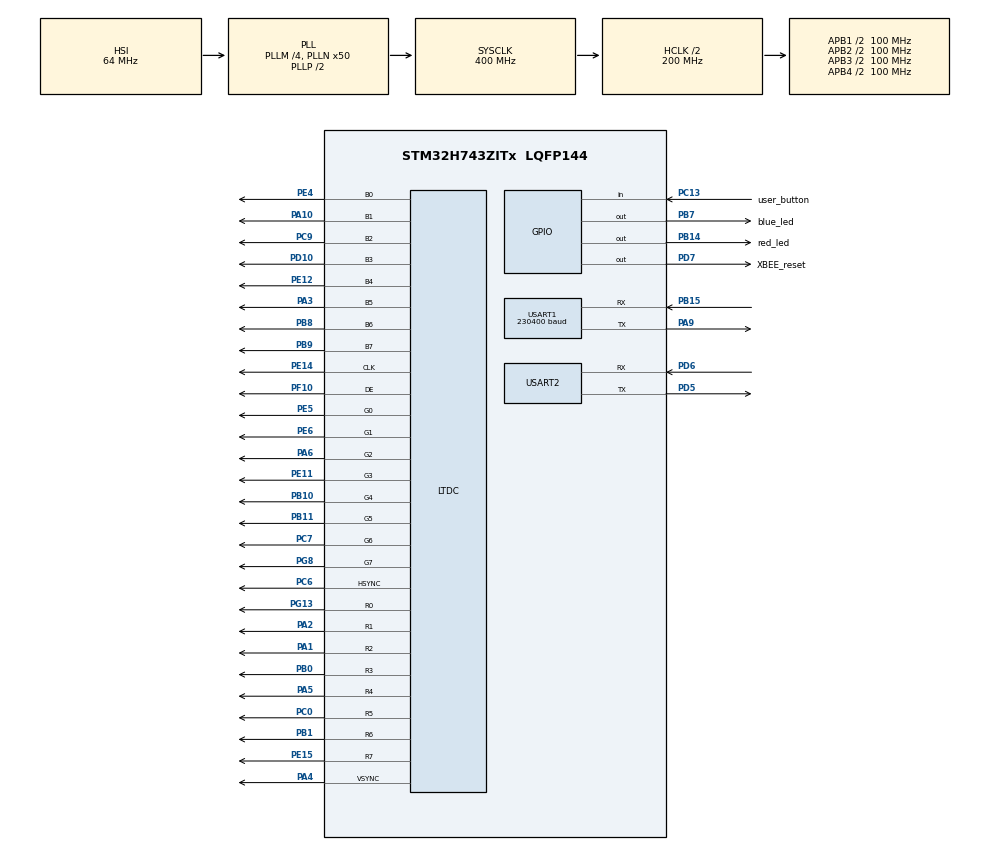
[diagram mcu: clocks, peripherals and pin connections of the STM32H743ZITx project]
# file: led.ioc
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LTDC.ActiveH=480
LTDC.ActiveW=640
LTDC.Alpha_L0=255
LTDC.BlendingFactor1_L0=LTDC_BLENDING_FACTOR1_CA
LTDC.Blue=255
LTDC.Blue_L0=255
LTDC.Blue_L1=255
LTDC.DEPolarity=LTDC_DEPOLARITY_AL
LTDC.FBStartAdress_L0=frame0
LTDC.FBStartAdress_L1=frame1
LTDC.Green=255
LTDC.Green_L0=255
LTDC.Green_L1=255
LTDC.HBP=48
LTDC.HFP=16
LTDC.HSync=96
LTDC.ImageHeight_L0=420
LTDC.ImageHeight_L1=20
LTDC.ImageWidth_L0=600
LTDC.ImageWidth_L1=20
LTDC.PCPolarity=LTDC_PCPOLARITY_IIPC
LTDC.PixelFormat_L0=LTDC_PIXEL_FORMAT_RGB565
LTDC.PixelFormat_L1=LTDC_PIXEL_FORMAT_RGB565
LTDC.Red=255
LTDC.Red_L0=255
LTDC.Red_L1=255
LTDC.VBP=32
LTDC.VFP=11
LTDC.VSync=2
LTDC.WindowX0_L0=20
LTDC.WindowX0_L1=10
LTDC.WindowX1_L0=619
LTDC.WindowX1_L1=29
LTDC.WindowY0_L0=30
LTDC.WindowY0_L1=30
LTDC.WindowY1_L0=449
LTDC.WindowY1_L1=49
Mcu.Family=STM32H7
Mcu.Name=STM32H743ZITx
Mcu.Package=LQFP144
NVIC.PriorityGroup=NVIC_PRIORITYGROUP_4
NVIC.TIM3_IRQn=true\:0\:0\:false\:false\:true\:true
PA1.GPIO_Speed=GPIO_SPEED_FREQ_VERY_HIGH
PA1.Mode=RGB888
PA1.Signal=LTDC_R2
PA10.GPIO_Speed=GPIO_SPEED_FREQ_VERY_HIGH
PA10.Mode=RGB888
PA10.Signal=LTDC_B1
PA2.GPIO_Speed=GPIO_SPEED_FREQ_VERY_HIGH
PA2.Mode=RGB888
PA2.Signal=LTDC_R1
PA3.GPIO_Speed=GPIO_SPEED_FREQ_VERY_HIGH
PA3.Mode=RGB888
PA3.Signal=LTDC_B5
PA4.GPIO_Speed=GPIO_SPEED_FREQ_VERY_HIGH
PA4.Mode=RGB888
PA4.Signal=LTDC_VSYNC
PA5.GPIO_Speed=GPIO_SPEED_FREQ_VERY_HIGH
PA5.Mode=RGB888
PA5.Signal=LTDC_R4
PA6.GPIO_Speed=GPIO_SPEED_FREQ_VERY_HIGH
PA6.Mode=RGB888
PA6.Signal=LTDC_G2
PA9.Mode=Asynchronous
PA9.Signal=USART1_TX
PB0.GPIO_Speed=GPIO_SPEED_FREQ_VERY_HIGH
PB0.Mode=RGB888
PB0.Signal=LTDC_R3
PB1.GPIO_Speed=GPIO_SPEED_FREQ_VERY_HIGH
PB1.Mode=RGB888
PB1.Signal=LTDC_R6
PB10.GPIO_Speed=GPIO_SPEED_FREQ_VERY_HIGH
PB10.Mode=RGB888
PB10.Signal=LTDC_G4
PB11.GPIO_Speed=GPIO_SPEED_FREQ_VERY_HIGH
PB11.Mode=RGB888
PB11.Signal=LTDC_G5
PB14.GPIO_Label=red_led
PB14.GPIO_Speed=GPIO_SPEED_FREQ_VERY_HIGH
PB14.Signal=GPIO_Output
PB15.Mode=Asynchronous
PB15.Signal=USART1_RX
PB7.GPIO_FM7=__NULL
PB7.GPIO_Label=blue_led
PB7.GPIO_PuPd=GPIO_NOPULL
PB7.GPIO_Speed=GPIO_SPEED_FREQ_VERY_HIGH
PB7.Signal=GPIO_Output
PB8.GPIO_Speed=GPIO_SPEED_FREQ_VERY_HIGH
PB8.Mode=RGB888
PB8.Signal=LTDC_B6
PB9.GPIO_Speed=GPIO_SPEED_FREQ_VERY_HIGH
PB9.Mode=RGB888
PB9.Signal=LTDC_B7
PC0.GPIO_Speed=GPIO_SPEED_FREQ_VERY_HIGH
PC0.Mode=RGB888
PC0.Signal=LTDC_R5
PC13.GPIO_Label=user_button
PC13.Signal=GPIO_Input
PC6.GPIO_Speed=GPIO_SPEED_FREQ_VERY_HIGH
PC6.Mode=RGB888
PC6.Signal=LTDC_HSYNC
PC7.GPIO_Speed=GPIO_SPEED_FREQ_VERY_HIGH
PC7.Mode=RGB888
PC7.Signal=LTDC_G6
PC9.GPIO_Speed=GPIO_SPEED_FREQ_VERY_HIGH
PC9.Mode=RGB888
PC9.Signal=LTDC_B2
PD10.GPIO_Speed=GPIO_SPEED_FREQ_VERY_HIGH
PD10.Mode=RGB888
PD10.Signal=LTDC_B3
PD5.Mode=Asynchronous
PD5.Signal=USART2_TX
PD6.Mode=Asynchronous
PD6.Signal=USART2_RX
PD7.GPIO_Label=XBEE_reset
PD7.Signal=GPIO_Output
PE11.GPIO_Speed=GPIO_SPEED_FREQ_VERY_HIGH
PE11.Mode=RGB888
PE11.Signal=LTDC_G3
PE12.GPIO_Speed=GPIO_SPEED_FREQ_VERY_HIGH
PE12.Mode=RGB888
PE12.Signal=LTDC_B4
PE14.GPIO_Speed=GPIO_SPEED_FREQ_VERY_HIGH
PE14.Mode=RGB888
PE14.Signal=LTDC_CLK
PE15.GPIO_Speed=GPIO_SPEED_FREQ_VERY_HIGH
PE15.Mode=RGB888
PE15.Signal=LTDC_R7
PE4.GPIO_Speed=GPIO_SPEED_FREQ_VERY_HIGH
PE4.Mode=RGB888
PE4.Signal=LTDC_B0
PE5.GPIO_Speed=GPIO_SPEED_FREQ_VERY_HIGH
PE5.Mode=RGB888
PE5.Signal=LTDC_G0
PE6.GPIO_Speed=GPIO_SPEED_FREQ_VERY_HIGH
PE6.Mode=RGB888
PE6.Signal=LTDC_G1
PF10.GPIO_Speed=GPIO_SPEED_FREQ_VERY_HIGH
PF10.Mode=RGB888
PF10.Signal=LTDC_DE
PG13.GPIO_Speed=GPIO_SPEED_FREQ_VERY_HIGH
PG13.Mode=RGB888
PG13.Signal=LTDC_R0
PG8.GPIO_Speed=GPIO_SPEED_FREQ_VERY_HIGH
PG8.Mode=RGB888
PG8.Signal=LTDC_G7
ProjectManager.HeapSize=0x200
ProjectManager.StackSize=0x400
ProjectManager.TargetToolchain=SW4STM32
RCC.ADCFreq_Value=129000000
RCC.APB1Freq_Value=100000000
RCC.APB2Freq_Value=100000000
RCC.APB3Freq_Value=100000000
RCC.APB4Freq_Value=100000000
RCC.CortexFreq_Value=400000000
RCC.D1PPRE=RCC_APB3_DIV2
RCC.D2PPRE1=RCC_APB1_DIV2
RCC.D2PPRE2=RCC_APB2_DIV2
RCC.D3PPRE=RCC_APB4_DIV2
RCC.DIVM1=4
RCC.DIVN1=50
RCC.DIVN3=25
RCC.HCLKFreq_Value=200000000
RCC.HPRE=RCC_HCLK_DIV2
RCC.SYSCLKFreq_VALUE=400000000
RCC.SYSCLKSource=RCC_SYSCLKSOURCE_PLLCLK
RCC.USBFreq_Value=400000000
TIM3.Period=9999
TIM3.Prescaler=20000
TIM4.Period=999
TIM4.Prescaler=200
USART1.BaudRate=230400
USART1.VirtualMode-Asynchronous=VM_ASYNC
USART1.WordLength=WORDLENGTH_8B
USART2.VirtualMode-Asynchronous=VM_ASYNC
VP_TIM3_VS_ClockSourceINT.Mode=Internal
VP_TIM4_VS_ClockSourceINT.Mode=Internal
board=led

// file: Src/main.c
/**
  ******************************************************************************
  * File Name          : main.c
  * Description        : Main program body
  ******************************************************************************
  ** This notice applies to any and all portions of this file
  * that are not between comment pairs USER CODE BEGIN and
  * USER CODE END. Other portions of this file, whether
  * inserted by the user or by software development tools
  * are owned by their respective copyright owners.
  *
  * COPYRIGHT(c) 2018 STMicroelectronics
  *
  * Redistribution and use in source and binary forms, with or without modification,
  * are permitted provided that the following conditions are met:
  *   1. Redistributions of source code must retain the above copyright notice,
  *      this list of conditions and the following disclaimer.
  *   2. Redistributions in binary form must reproduce the above copyright notice,
  *      this list of conditions and the following disclaimer in the documentation
  *      and/or other materials provided with the distribution.
  *   3. Neither the name of STMicroelectronics nor the names of its contributors
  *      may be used to endorse or promote products derived from this software
  *      without specific prior written permission.
  *
  * THIS SOFTWARE IS PROVIDED BY THE COPYRIGHT HOLDERS AND CONTRIBUTORS "AS IS"
  * AND ANY EXPRESS OR IMPLIED WARRANTIES, INCLUDING, BUT NOT LIMITED TO, THE
  * IMPLIED WARRANTIES OF MERCHANTABILITY AND FITNESS FOR A PARTICULAR PURPOSE ARE
  * DISCLAIMED. IN NO EVENT SHALL THE COPYRIGHT HOLDER OR CONTRIBUTORS BE LIABLE
  * FOR ANY DIRECT, INDIRECT, INCIDENTAL, SPECIAL, EXEMPLARY, OR CONSEQUENTIAL
  * DAMAGES (INCLUDING, BUT NOT LIMITED TO, PROCUREMENT OF SUBSTITUTE GOODS OR
  * SERVICES; LOSS OF USE, DATA, OR PROFITS; OR BUSINESS INTERRUPTION) HOWEVER
  * CAUSED AND ON ANY THEORY OF LIABILITY, WHETHER IN CONTRACT, STRICT LIABILITY,
  * OR TORT (INCLUDING NEGLIGENCE OR OTHERWISE) ARISING IN ANY WAY OUT OF THE USE
  * OF THIS SOFTWARE, EVEN IF ADVISED OF THE POSSIBILITY OF SUCH DAMAGE.
  *
  ******************************************************************************
  */
#include "main.h"
#include "stm32h7xx_hal.h"

/* USER CODE BEGIN Includes */
#include "QS/QS_all.h"
#include "QS/QS_systick.h"
#include "QS/QS_uart.h"
#include "QS/QS_can_over_xbee.h"
#include "LCD/interface.h"
#include "LCD/low layer/lcd_display.h"
#include "Can_msg_processing.h"
#include "environment.h"
/* USER CODE END Includes */

LTDC_HandleTypeDef hltdc;

TIM_HandleTypeDef htim3;
TIM_HandleTypeDef htim4;

UART_HandleTypeDef huart1;
UART_HandleTypeDef huart2;

/* USER CODE BEGIN PV */
/* Private variables ---------------------------------------------------------*/

/* USER CODE END PV */

void SystemClock_Config(void);
static void MX_GPIO_Init(void);
static void MX_LTDC_Init(void);
static void MX_USART1_UART_Init(void);
static void MX_USART2_UART_Init(void);
static void MX_TIM3_Init(void);
static void MX_TIM4_Init(void);

/* USER CODE BEGIN PFP */
/* Private function prototypes -----------------------------------------------*/

/* USER CODE END PFP */

int main(void)
{

  /* USER CODE BEGIN 1 */
  CAN_msg_t msg;
  /* USER CODE END 1 */

  /* MCU Configuration----------------------------------------------------------*/

  /* Reset of all peripherals, Initializes the Flash interface and the Systick. */
  HAL_Init();

  /* Configure the system clock */
  SystemClock_Config();

  /* USER CODE BEGIN SysInit */
  SYSTICK_init(&(global.absolute_time));
  /* USER CODE END SysInit */

  /* Initialize all configured peripherals */
  MX_GPIO_Init();
  MX_LTDC_Init();
  MX_USART1_UART_Init();
  MX_USART2_UART_Init();
  MX_TIM3_Init();
  MX_TIM4_Init();

  /* USER CODE BEGIN 2 */
  HAL_TIM_Base_Start_IT(&htim3);
  HAL_TIM_Base_Start_IT(&htim4);

  UART_init(UART_DEBUG, UART_DEBUG_BAUDRATE);
  UART_init(UART_XBEE, UART_XBEE_BAUDRATE);

  CAN_over_XBee_init(LED_MODULE, BIG_ROBOT_MODULE);
  XBEE_ping_pong_enable(FALSE);

  debug_printf("\n------- Hello, I'm LED -------\n");

  INTERFACE_init();

  /* USER CODE END 2 */

  /* Infinite loop */
  while (1)
  {

  /* USER CODE BEGIN 3 */

	  ENV_process_main();

	  CAN_over_XBee_process_main();

	  // Traitement des messages XBee
	  while(XBeeToCANmsg(&msg)){
		    HAL_GPIO_TogglePin(red_led_GPIO_Port, red_led_Pin);
			CAN_process_msg(&msg);		// Traitement du message pour donner les consignes à la machine d'état
			#ifdef CAN_VERBOSE_MODE
				QS_CAN_VERBOSE_can_msg_print(&msg);
			#endif
		}

	  INTERFACE_processMain();

  }
  /* USER CODE END 3 */

}

/** System Clock Configuration
*/
void SystemClock_Config(void)
{

  RCC_OscInitTypeDef RCC_OscInitStruct;
  RCC_ClkInitTypeDef RCC_ClkInitStruct;
  RCC_PeriphCLKInitTypeDef PeriphClkInitStruct;

    /**Supply configuration update enable
    */
  MODIFY_REG(PWR->CR3, PWR_CR3_SCUEN, 0);

    /**Configure the main internal regulator output voltage
    */
  __HAL_PWR_VOLTAGESCALING_CONFIG(PWR_REGULATOR_VOLTAGE_SCALE1);

  while ((PWR->D3CR & (PWR_D3CR_VOSRDY)) != PWR_D3CR_VOSRDY)
  {

  }
    /**Macro to configure the PLL clock source
    */
  __HAL_RCC_PLL_PLLSOURCE_CONFIG(RCC_PLLSOURCE_HSI);

    /**Initializes the CPU, AHB and APB busses clocks
    */
  RCC_OscInitStruct.OscillatorType = RCC_OSCILLATORTYPE_HSI;
  RCC_OscInitStruct.HSIState = RCC_HSI_DIV1;
  RCC_OscInitStruct.HSICalibrationValue = 16;
  RCC_OscInitStruct.PLL.PLLState = RCC_PLL_ON;
  RCC_OscInitStruct.PLL.PLLSource = RCC_PLLSOURCE_HSI;
  RCC_OscInitStruct.PLL.PLLM = 4;
  RCC_OscInitStruct.PLL.PLLN = 50;
  RCC_OscInitStruct.PLL.PLLP = 2;
  RCC_OscInitStruct.PLL.PLLQ = 2;
  RCC_OscInitStruct.PLL.PLLR = 2;
  RCC_OscInitStruct.PLL.PLLRGE = RCC_PLL1VCIRANGE_3;
  RCC_OscInitStruct.PLL.PLLVCOSEL = RCC_PLL1VCOWIDE;
  RCC_OscInitStruct.PLL.PLLFRACN = 0;
  if (HAL_RCC_OscConfig(&RCC_OscInitStruct) != HAL_OK)
  {
    _Error_Handler(__FILE__, __LINE__);
  }

    /**Initializes the CPU, AHB and APB busses clocks
    */
  RCC_ClkInitStruct.ClockType = RCC_CLOCKTYPE_HCLK|RCC_CLOCKTYPE_SYSCLK
                              |RCC_CLOCKTYPE_PCLK1|RCC_CLOCKTYPE_PCLK2
                              |RCC_CLOCKTYPE_D3PCLK1|RCC_CLOCKTYPE_D1PCLK1;
  RCC_ClkInitStruct.SYSCLKSource = RCC_SYSCLKSOURCE_PLLCLK;
  RCC_ClkInitStruct.SYSCLKDivider = RCC_SYSCLK_DIV1;
  RCC_ClkInitStruct.AHBCLKDivider = RCC_HCLK_DIV2;
  RCC_ClkInitStruct.APB3CLKDivider = RCC_APB3_DIV2;
  RCC_ClkInitStruct.APB1CLKDivider = RCC_APB1_DIV2;
  RCC_ClkInitStruct.APB2CLKDivider = RCC_APB2_DIV2;
  RCC_ClkInitStruct.APB4CLKDivider = RCC_APB4_DIV2;

  if (HAL_RCC_ClockConfig(&RCC_ClkInitStruct, FLASH_LATENCY_2) != HAL_OK)
  {
    _Error_Handler(__FILE__, __LINE__);
  }

  PeriphClkInitStruct.PeriphClockSelection = RCC_PERIPHCLK_LTDC|RCC_PERIPHCLK_USART2
                              |RCC_PERIPHCLK_USART1;
  PeriphClkInitStruct.PLL3.PLL3M = 32;
  PeriphClkInitStruct.PLL3.PLL3N = 25;
  PeriphClkInitStruct.PLL3.PLL3P = 2;
  PeriphClkInitStruct.PLL3.PLL3Q = 2;
  PeriphClkInitStruct.PLL3.PLL3R = 2;
  PeriphClkInitStruct.PLL3.PLL3RGE = RCC_PLL3VCIRANGE_1;
  PeriphClkInitStruct.PLL3.PLL3VCOSEL = RCC_PLL3VCOWIDE;
  PeriphClkInitStruct.PLL3.PLL3FRACN = 0;
  PeriphClkInitStruct.Usart234578ClockSelection = RCC_USART234578CLKSOURCE_D2PCLK1;
  PeriphClkInitStruct.Usart16ClockSelection = RCC_USART16CLKSOURCE_D2PCLK2;
  if (HAL_RCCEx_PeriphCLKConfig(&PeriphClkInitStruct) != HAL_OK)
  {
    _Error_Handler(__FILE__, __LINE__);
  }

    /**Configure the Systick interrupt time
    */
  HAL_SYSTICK_Config(SystemCoreClock/1000);

    /**Configure the Systick
    */
  HAL_SYSTICK_CLKSourceConfig(SYSTICK_CLKSOURCE_HCLK);

  /* SysTick_IRQn interrupt configuration */
  HAL_NVIC_SetPriority(SysTick_IRQn, 0, 0);
}

/* LTDC init function */
static void MX_LTDC_Init(void)
{

  LTDC_LayerCfgTypeDef pLayerCfg;
  LTDC_LayerCfgTypeDef pLayerCfg1;

  hltdc.Instance = LTDC;
  hltdc.Init.HSPolarity = LTDC_HSPOLARITY_AL;
  hltdc.Init.VSPolarity = LTDC_VSPOLARITY_AL;
  hltdc.Init.DEPolarity = LTDC_DEPOLARITY_AL;
  hltdc.Init.PCPolarity = LTDC_PCPOLARITY_IIPC;
  hltdc.Init.HorizontalSync = 95;
  hltdc.Init.VerticalSync = 1;
  hltdc.Init.AccumulatedHBP = 143;
  hltdc.Init.AccumulatedVBP = 33;
  hltdc.Init.AccumulatedActiveW = 783;
  hltdc.Init.AccumulatedActiveH = 513;
  hltdc.Init.TotalWidth = 799;
  hltdc.Init.TotalHeigh = 524;
  hltdc.Init.Backcolor.Blue = 255;
  hltdc.Init.Backcolor.Green = 255;
  hltdc.Init.Backcolor.Red = 255;
  if (HAL_LTDC_Init(&hltdc) != HAL_OK)
  {
    _Error_Handler(__FILE__, __LINE__);
  }

  pLayerCfg.WindowX0 = 20;
  pLayerCfg.WindowX1 = 619;
  pLayerCfg.WindowY0 = 30;
  pLayerCfg.WindowY1 = 449;
  pLayerCfg.PixelFormat = LTDC_PIXEL_FORMAT_RGB565;
  pLayerCfg.Alpha = 255;
  pLayerCfg.Alpha0 = 0;
  pLayerCfg.BlendingFactor1 = LTDC_BLENDING_FACTOR1_CA;
  pLayerCfg.BlendingFactor2 = LTDC_BLENDING_FACTOR2_CA;
  pLayerCfg.FBStartAdress = (uint32_t) frame0;
  pLayerCfg.ImageWidth = 600;
  pLayerCfg.ImageHeight = 420;
  pLayerCfg.Backcolor.Blue = 255;
  pLayerCfg.Backcolor.Green = 255;
  pLayerCfg.Backcolor.Red = 255;
  if (HAL_LTDC_ConfigLayer(&hltdc, &pLayerCfg, 0) != HAL_OK)
  {
    _Error_Handler(__FILE__, __LINE__);
  }

  pLayerCfg1.WindowX0 = 10;
  pLayerCfg1.WindowX1 = 29;
  pLayerCfg1.WindowY0 = 30;
  pLayerCfg1.WindowY1 = 49;
  pLayerCfg1.PixelFormat = LTDC_PIXEL_FORMAT_RGB565;
  pLayerCfg1.Alpha = 0;
  pLayerCfg1.Alpha0 = 0;
  pLayerCfg1.BlendingFactor1 = LTDC_BLENDING_FACTOR1_CA;
  pLayerCfg1.BlendingFactor2 = LTDC_BLENDING_FACTOR2_CA;
  pLayerCfg1.FBStartAdress = (uint32_t) frame1;
  pLayerCfg1.ImageWidth = 20;
  pLayerCfg1.ImageHeight = 20;
  pLayerCfg1.Backcolor.Blue = 255;
  pLayerCfg1.Backcolor.Green = 255;
  pLayerCfg1.Backcolor.Red = 255;
  if (HAL_LTDC_ConfigLayer(&hltdc, &pLayerCfg1, 1) != HAL_OK)
  {
    _Error_Handler(__FILE__, __LINE__);
  }

}

/* TIM3 init function */
static void MX_TIM3_Init(void)
{

  TIM_ClockConfigTypeDef sClockSourceConfig;
  TIM_MasterConfigTypeDef sMasterConfig;

  htim3.Instance = TIM3;
  htim3.Init.Prescaler = 20000;
  htim3.Init.CounterMode = TIM_COUNTERMODE_UP;
  htim3.Init.Period = 9999;
  htim3.Init.ClockDivision = TIM_CLOCKDIVISION_DIV1;
  htim3.Init.AutoReloadPreload = TIM_AUTORELOAD_PRELOAD_DISABLE;
  if (HAL_TIM_Base_Init(&htim3) != HAL_OK)
  {
    _Error_Handler(__FILE__, __LINE__);
  }

  sClockSourceConfig.ClockSource = TIM_CLOCKSOURCE_INTERNAL;
  if (HAL_TIM_ConfigClockSource(&htim3, &sClockSourceConfig) != HAL_OK)
  {
    _Error_Handler(__FILE__, __LINE__);
  }

  sMasterConfig.MasterOutputTrigger = TIM_TRGO_RESET;
  sMasterConfig.MasterSlaveMode = TIM_MASTERSLAVEMODE_DISABLE;
  if (HAL_TIMEx_MasterConfigSynchronization(&htim3, &sMasterConfig) != HAL_OK)
  {
    _Error_Handler(__FILE__, __LINE__);
  }

}

/* TIM4 init function */
static void MX_TIM4_Init(void)
{

  TIM_ClockConfigTypeDef sClockSourceConfig;
  TIM_MasterConfigTypeDef sMasterConfig;

  htim4.Instance = TIM4;
  htim4.Init.Prescaler = 200;
  htim4.Init.CounterMode = TIM_COUNTERMODE_UP;
  htim4.Init.Period = 999;
  htim4.Init.ClockDivision = TIM_CLOCKDIVISION_DIV1;
  htim4.Init.AutoReloadPreload = TIM_AUTORELOAD_PRELOAD_DISABLE;
  if (HAL_TIM_Base_Init(&htim4) != HAL_OK)
  {
    _Error_Handler(__FILE__, __LINE__);
  }

  sClockSourceConfig.ClockSource = TIM_CLOCKSOURCE_INTERNAL;
  if (HAL_TIM_ConfigClockSource(&htim4, &sClockSourceConfig) != HAL_OK)
  {
    _Error_Handler(__FILE__, __LINE__);
  }

  sMasterConfig.MasterOutputTrigger = TIM_TRGO_RESET;
  sMasterConfig.MasterSlaveMode = TIM_MASTERSLAVEMODE_DISABLE;
  if (HAL_TIMEx_MasterConfigSynchronization(&htim4, &sMasterConfig) != HAL_OK)
  {
    _Error_Handler(__FILE__, __LINE__);
  }

}

/* USART1 init function */
static void MX_USART1_UART_Init(void)
{

  huart1.Instance = USART1;
  huart1.Init.BaudRate = 230400;
  huart1.Init.WordLength = UART_WORDLENGTH_8B;
  huart1.Init.StopBits = UART_STOPBITS_1;
  huart1.Init.Parity = UART_PARITY_NONE;
  huart1.Init.Mode = UART_MODE_TX_RX;
  huart1.Init.HwFlowCtl = UART_HWCONTROL_NONE;
  huart1.Init.OverSampling = UART_OVERSAMPLING_16;
  huart1.Init.OneBitSampling = UART_ONE_BIT_SAMPLE_DISABLE;
  huart1.Init.Prescaler = UART_PRESCALER_DIV1;
  huart1.Init.FIFOMode = UART_FIFOMODE_DISABLE;
  huart1.Init.TXFIFOThreshold = UART_TXFIFO_THRESHOLD_1_8;
  huart1.Init.RXFIFOThreshold = UART_RXFIFO_THRESHOLD_1_8;
  huart1.AdvancedInit.AdvFeatureInit = UART_ADVFEATURE_NO_INIT;
  if (HAL_UART_Init(&huart1) != HAL_OK)
  {
    _Error_Handler(__FILE__, __LINE__);
  }

}

/* USART2 init function */
static void MX_USART2_UART_Init(void)
{

  huart2.Instance = USART2;
  huart2.Init.BaudRate = 115200;
  huart2.Init.WordLength = UART_WORDLENGTH_7B;
  huart2.Init.StopBits = UART_STOPBITS_1;
  huart2.Init.Parity = UART_PARITY_NONE;
  huart2.Init.Mode = UART_MODE_TX_RX;
  huart2.Init.HwFlowCtl = UART_HWCONTROL_NONE;
  huart2.Init.OverSampling = UART_OVERSAMPLING_16;
  huart2.Init.OneBitSampling = UART_ONE_BIT_SAMPLE_DISABLE;
  huart2.Init.Prescaler = UART_PRESCALER_DIV1;
  huart2.Init.FIFOMode = UART_FIFOMODE_DISABLE;
  huart2.Init.TXFIFOThreshold = UART_TXFIFO_THRESHOLD_1_8;
  huart2.Init.RXFIFOThreshold = UART_RXFIFO_THRESHOLD_1_8;
  huart2.AdvancedInit.AdvFeatureInit = UART_ADVFEATURE_NO_INIT;
  if (HAL_UART_Init(&huart2) != HAL_OK)
  {
    _Error_Handler(__FILE__, __LINE__);
  }

}

/** Configure pins as
        * Analog
        * Input
        * Output
        * EVENT_OUT
        * EXTI
*/
static void MX_GPIO_Init(void)
{

  GPIO_InitTypeDef GPIO_InitStruct;

  /* GPIO Ports Clock Enable */
  __HAL_RCC_GPIOE_CLK_ENABLE();
  __HAL_RCC_GPIOC_CLK_ENABLE();
  __HAL_RCC_GPIOF_CLK_ENABLE();
  __HAL_RCC_GPIOA_CLK_ENABLE();
  __HAL_RCC_GPIOB_CLK_ENABLE();
  __HAL_RCC_GPIOD_CLK_ENABLE();
  __HAL_RCC_GPIOG_CLK_ENABLE();

  /*Configure GPIO pin : user_button_Pin */
  GPIO_InitStruct.Pin = user_button_Pin;
  GPIO_InitStruct.Mode = GPIO_MODE_INPUT;
  GPIO_InitStruct.Pull = GPIO_NOPULL;
  HAL_GPIO_Init(user_button_GPIO_Port, &GPIO_InitStruct);

  /*Configure GPIO pins : red_led_Pin blue_led_Pin */
  GPIO_InitStruct.Pin = red_led_Pin|blue_led_Pin;
  GPIO_InitStruct.Mode = GPIO_MODE_OUTPUT_PP;
  GPIO_InitStruct.Pull = GPIO_NOPULL;
  GPIO_InitStruct.Speed = GPIO_SPEED_FREQ_VERY_HIGH;
  HAL_GPIO_Init(GPIOB, &GPIO_InitStruct);

  /*Configure GPIO pin : XBEE_reset_Pin */
  GPIO_InitStruct.Pin = XBEE_reset_Pin;
  GPIO_InitStruct.Mode = GPIO_MODE_OUTPUT_PP;
  GPIO_InitStruct.Pull = GPIO_NOPULL;
  GPIO_InitStruct.Speed = GPIO_SPEED_FREQ_LOW;
  HAL_GPIO_Init(XBEE_reset_GPIO_Port, &GPIO_InitStruct);

}

void _Error_Handler(char * file, int line)
{
  /* USER CODE BEGIN Error_Handler_Debug */
  /* User can add his own implementation to report the HAL error return state */
	debug_printf("Error occurs in file %s line %d\n", file, line);
  while(1)
  {
  }
  /* USER CODE END Error_Handler_Debug */
}

/************************ (C) COPYRIGHT STMicroelectronics *****END OF FILE****/
